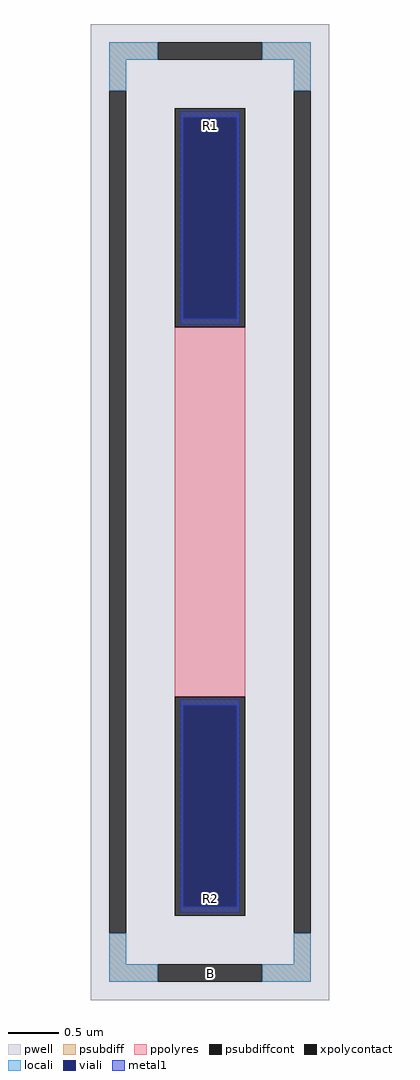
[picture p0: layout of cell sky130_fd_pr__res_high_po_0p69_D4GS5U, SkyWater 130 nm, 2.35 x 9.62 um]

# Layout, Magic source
magic
tech sky130A
magscale 1 2
<< pwell >>
rect -235 -962 235 962
<< psubdiff >>
rect -199 892 -103 926
rect 103 892 199 926
rect -199 830 -165 892
rect 165 830 199 892
rect -199 -892 -165 -830
rect 165 -892 199 -830
rect -199 -926 -103 -892
rect 103 -926 199 -892
<< psubdiffcont >>
rect -103 892 103 926
rect -199 -830 -165 830
rect 165 -830 199 830
rect -103 -926 103 -892
<< xpolycontact >>
rect -69 364 69 796
rect -69 -796 69 -364
<< ppolyres >>
rect -69 -364 69 364
<< locali >>
rect -199 892 -103 926
rect 103 892 199 926
rect -199 830 -165 892
rect 165 830 199 892
rect -199 -892 -165 -830
rect 165 -892 199 -830
rect -199 -926 -103 -892
rect 103 -926 199 -892
<< viali >>
rect -53 381 53 778
rect -53 -778 53 -381
<< metal1 >>
rect -59 778 59 790
rect -59 381 -53 778
rect 53 381 59 778
rect -59 369 59 381
rect -59 -381 59 -369
rect -59 -778 -53 -381
rect 53 -778 59 -381
rect -59 -790 59 -778
<< labels >>
rlabel psubdiffcont 0 -909 0 -909 0 B
port 4 nsew
rlabel xpolycontact 0 761 0 761 0 R1
port 5 nsew
rlabel xpolycontact 0 -761 0 -761 0 R2
port 6 nsew
<< properties >>
string FIXED_BBOX -182 -909 182 909
string gencell sky130_fd_pr__res_high_po_0p69
string library sky130
string parameters w 0.690 l 3.8 m 1 nx 1 wmin 0.690 lmin 0.50 class resistor rho 319.8 val 2.325k dummy 0 dw 0.0 term 194.82 sterm 0.0 caplen 0 guard 1 glc 1 grc 1 gtc 1 gbc 1 compatible {sky130_fd_pr__res_high_po_0p35  sky130_fd_pr__res_high_po_0p69 sky130_fd_pr__res_high_po_1p41  sky130_fd_pr__res_high_po_2p85 sky130_fd_pr__res_high_po_5p73} snake 0 full_metal 1 wmax 0.690 n_guard 0 hv_guard 0 vias 1 viagb 0 viagt 0 viagl 0 viagr 0 doports 1 mult 1
<< end >>
